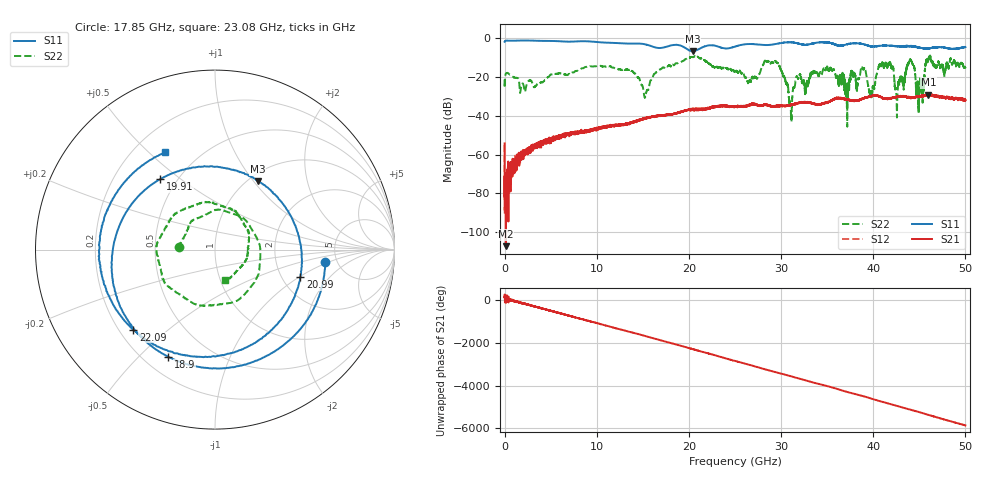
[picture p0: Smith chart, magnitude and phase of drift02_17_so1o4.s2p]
!Created with skrf (http://scikit-rf.org).
# Hz S RI R 50.0
!freq ReS11 ImS11 ReS21 ImS21 ReS12 ImS12 ReS22 ImS22
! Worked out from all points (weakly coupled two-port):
!   10001 points, 300 kHz to 50 GHz, reference 50 ohm
!   highest |S21| = -29.15 dB at 45.98 GHz (marker M1); lowest = -107.1 dB at 125.3 MHz (marker M2)
!   lowest |S11| = -6.9 dB at 20.41 GHz (marker M3), VSWR 2.63, Z = 54.9 + j52.6 ohm
!   |S11| at or under -10 dB: nowhere
!   |S22| runs from -45.7 to -9.0 dB; largest |S21 - S12| = 0.0031
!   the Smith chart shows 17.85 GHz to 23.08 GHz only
!   S11 on the Smith chart (normalised r, x): 17.85 GHz: 4.01, -0.91; 18.9 GHz: 0.30, -0.62; 19.91 GHz: 0.41, +0.42; 20.99 GHz: 2.51, -1.03; 22.09 GHz: 0.26, -0.39; 23.08 GHz: 0.33, +0.56
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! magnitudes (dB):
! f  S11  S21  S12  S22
! 300 kHz  -2.1  -54.2  -55.0  -21.4
! 125.3 MHz  -1.5  -107.1  -73.4  -18.4
! 8.335 GHz  -1.7  -47.8  -48.6  -15.8
! 15.31 GHz  -3.4  -41.5  -41.2  -29.4
! 16.67 GHz  -5.2  -40.1  -40.2  -16.9
! 17.85 GHz  -4.2  -39.5  -39.4  -14.0
! 18.9 GHz  -3.7  -38.3  -38.4  -12.6
! 19.91 GHz  -6.1  -37.2  -37.0  -10.2
! 20.41 GHz  -6.9  -37.2  -36.5  -10.0
! 20.99 GHz  -6.0  -36.8  -36.8  -9.8
! 22.09 GHz  -3.9  -36.2  -36.5  -12.8
! 23.08 GHz  -4.3  -35.0  -35.0  -15.0
! 25 GHz  -4.5  -35.1  -35.4  -17.3
! 29.5 GHz  -3.1  -34.9  -35.2  -12.6
! 31.04 GHz  -2.3  -34.6  -34.8  -34.9
! 33.34 GHz  -3.0  -33.4  -33.6  -17.8
! 38.91 GHz  -3.2  -31.2  -31.2  -16.1
! 39.72 GHz  -4.3  -30.0  -30.1  -29.3
! 41.67 GHz  -4.0  -31.0  -31.2  -13.3
! 45.15 GHz  -5.1  -30.2  -30.2  -22.1
! 45.98 GHz  -5.4  -29.1  -29.5  -10.6
! 50 GHz  -4.7  -31.9  -31.7  -15.3
